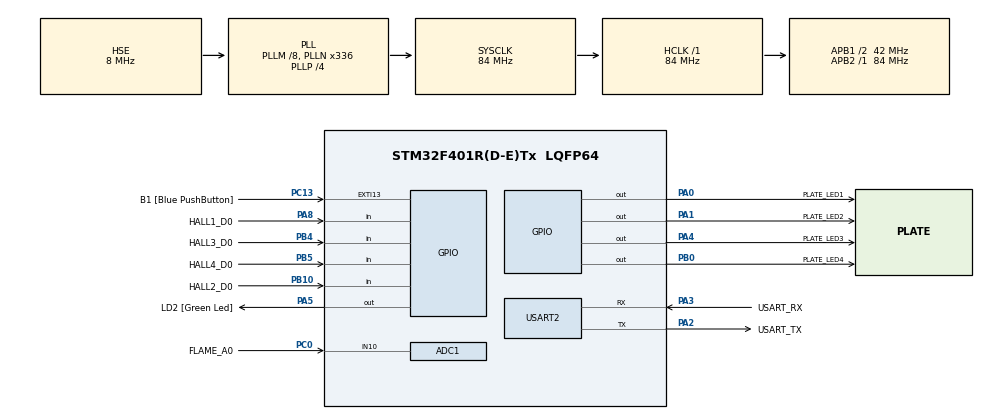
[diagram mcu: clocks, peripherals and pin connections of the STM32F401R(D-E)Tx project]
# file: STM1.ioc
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ADC1.Channel-0\#ChannelRegularConversion=ADC_CHANNEL_10
ADC1.DMAContinuousRequests=ENABLE
ADC1.ExternalTrigConv=ADC_EXTERNALTRIGCONV_T2_TRGO
ADC1.NbrOfConversionFlag=1
ADC1.Rank-0\#ChannelRegularConversion=1
ADC1.SamplingTime-0\#ChannelRegularConversion=ADC_SAMPLETIME_480CYCLES
ADC1.master=1
Dma.ADC1.0.Direction=DMA_PERIPH_TO_MEMORY
Dma.ADC1.0.FIFOMode=DMA_FIFOMODE_DISABLE
Dma.ADC1.0.Instance=DMA2_Stream0
Dma.ADC1.0.MemDataAlignment=DMA_MDATAALIGN_HALFWORD
Dma.ADC1.0.MemInc=DMA_MINC_ENABLE
Dma.ADC1.0.Mode=DMA_CIRCULAR
Dma.ADC1.0.PeriphDataAlignment=DMA_PDATAALIGN_HALFWORD
Dma.ADC1.0.PeriphInc=DMA_PINC_DISABLE
Dma.ADC1.0.Priority=DMA_PRIORITY_LOW
Dma.Request0=ADC1
FREERTOS.Tasks01=defaultTask,24,128,StartDefaultTask,Default,NULL,Dynamic,NULL,NULL;TaskFlameSensor,24,256,StartTaskFlameSensor,Default,NULL,Dynamic,NULL,NULL;TaskHallSensor,24,128,StartTaskHallSensor,Default,NULL,Dynamic,NULL,NULL;TaskPacketTX,24,256,StartTaskPacketTX,Default,NULL,Dynamic,NULL,NULL
FREERTOS.configUSE_NEWLIB_REENTRANT=1
Mcu.Family=STM32F4
Mcu.Name=STM32F401R(D-E)Tx
Mcu.Package=LQFP64
NVIC.ADC_IRQn=true\:5\:0\:false\:false\:true\:true\:true\:true\:true
NVIC.DMA2_Stream0_IRQn=true\:5\:0\:false\:false\:true\:true\:false\:true\:true
NVIC.PriorityGroup=NVIC_PRIORITYGROUP_4
NVIC.TIM1_UP_TIM10_IRQn=true\:15\:0\:false\:false\:true\:false\:false\:true\:true
NVIC.TIM2_IRQn=true\:5\:0\:false\:false\:true\:true\:true\:true\:true
NVIC.TimeBase=TIM1_UP_TIM10_IRQn
NVIC.TimeBaseIP=TIM1
PA0-WKUP.GPIO_Label=PLATE_LED1
PA0-WKUP.Signal=GPIO_Output
PA1.GPIO_Label=PLATE_LED2
PA1.Signal=GPIO_Output
PA13.GPIO_Label=TMS
PA13.Mode=Serial_Wire
PA13.Signal=SYS_JTMS-SWDIO
PA14.GPIO_Label=TCK
PA14.Mode=Serial_Wire
PA14.Signal=SYS_JTCK-SWCLK
PA2.GPIO_Label=USART_TX
PA2.GPIO_Mode=GPIO_MODE_AF_PP
PA2.GPIO_PuPd=GPIO_NOPULL
PA2.GPIO_Speed=GPIO_SPEED_FREQ_LOW
PA2.Mode=Asynchronous
PA2.Signal=USART2_TX
PA3.GPIO_Label=USART_RX
PA3.GPIO_Mode=GPIO_MODE_AF_PP
PA3.GPIO_PuPd=GPIO_NOPULL
PA3.GPIO_Speed=GPIO_SPEED_FREQ_LOW
PA3.Mode=Asynchronous
PA3.Signal=USART2_RX
PA4.GPIO_Label=PLATE_LED3
PA4.Signal=GPIO_Output
PA5.GPIO_Label=LD2 [Green Led]
PA5.GPIO_Mode=GPIO_MODE_OUTPUT_PP
PA5.GPIO_PuPd=GPIO_NOPULL
PA5.GPIO_Speed=GPIO_SPEED_FREQ_LOW
PA5.Signal=GPIO_Output
PA8.GPIO_Label=HALL1_D0
PA8.GPIO_PuPd=GPIO_PULLUP
PA8.Signal=GPIO_Input
PB0.GPIO_Label=PLATE_LED4
PB0.Signal=GPIO_Output
PB10.GPIO_Label=HALL2_D0
PB10.GPIO_PuPd=GPIO_PULLUP
PB10.Signal=GPIO_Input
PB3.GPIO_Label=SWO
PB3.Signal=SYS_JTDO-SWO
PB4.GPIO_Label=HALL3_D0
PB4.GPIO_PuPd=GPIO_PULLUP
PB4.Signal=GPIO_Input
PB5.GPIO_Label=HALL4_D0
PB5.GPIO_PuPd=GPIO_PULLUP
PB5.Signal=GPIO_Input
PC0.GPIO_Label=FLAME_A0
PC0.Signal=ADCx_IN10
PC13-ANTI_TAMP.GPIO_Label=B1 [Blue PushButton]
PC13-ANTI_TAMP.GPIO_ModeDefaultEXTI=GPIO_MODE_IT_FALLING
PC13-ANTI_TAMP.GPIO_PuPd=GPIO_NOPULL
PC13-ANTI_TAMP.Signal=GPXTI13
PC14-OSC32_IN.Mode=LSE-External-Oscillator
PC14-OSC32_IN.Signal=RCC_OSC32_IN
PC15-OSC32_OUT.Mode=LSE-External-Oscillator
PC15-OSC32_OUT.Signal=RCC_OSC32_OUT
PH0\ -\ OSC_IN.Mode=HSE-External-Clock-Source
PH0\ -\ OSC_IN.Signal=RCC_OSC_IN
PH1\ -\ OSC_OUT.Mode=HSE-External-Clock-Source
PH1\ -\ OSC_OUT.Signal=RCC_OSC_OUT
ProjectManager.HeapSize=0x200
ProjectManager.StackSize=0x400
ProjectManager.TargetToolchain=STM32CubeIDE
RCC.48MHZClocksFreq_Value=48000000
RCC.AHBFreq_Value=84000000
RCC.APB1CLKDivider=RCC_HCLK_DIV2
RCC.APB1Freq_Value=42000000
RCC.APB1TimFreq_Value=84000000
RCC.APB2Freq_Value=84000000
RCC.APB2TimFreq_Value=84000000
RCC.CortexFreq_Value=84000000
RCC.HCLKFreq_Value=84000000
RCC.HSE_VALUE=8000000
RCC.HSI_VALUE=16000000
RCC.PLLM=8
RCC.PLLN=336
RCC.PLLP=RCC_PLLP_DIV4
RCC.PLLQ=7
RCC.PLLSourceVirtual=RCC_PLLSOURCE_HSE
RCC.SYSCLKFreq_VALUE=84000000
RCC.SYSCLKSource=RCC_SYSCLKSOURCE_PLLCLK
RCC.VCOOutputFreq_Value=336000000
SH.ADCx_IN10.0=ADC1_IN10,IN10
TIM2.Period=1049
TIM2.Prescaler=1249
TIM2.TIM_MasterOutputTrigger=TIM_TRGO_UPDATE
USART2.VirtualMode=VM_ASYNC
VP_FREERTOS_VS_CMSIS_V2.Mode=CMSIS_V2
VP_SYS_VS_tim1.Mode=TIM1
VP_TIM2_VS_ClockSourceINT.Mode=Internal
board=NUCLEO-F401RE

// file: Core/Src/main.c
/* USER CODE BEGIN Header */
/**
  ******************************************************************************
  * @file           : main.c
  * @brief          : Main program body
  ******************************************************************************
  * @attention
  *
  * Copyright (c) 2026 STMicroelectronics.
  * All rights reserved.
  *
  * This software is licensed under terms that can be found in the LICENSE file
  * in the root directory of this software component.
  * If no LICENSE file comes with this software, it is provided AS-IS.
  *
  ******************************************************************************
  */
/* USER CODE END Header */
#include "main.h"
#include "cmsis_os.h"
#include "adc.h"
#include "dma.h"
#include "tim.h"
#include "usart.h"
#include "gpio.h"

/* USER CODE BEGIN Includes */
#include <stdio.h>
#include "arm_math.h"
#include <stdlib.h>
#include "sensor_queue.h"
#include "sensor_protocol.h"
#include "alert_command.h"
#include "lora_e22.h"
#include "lora_frame.h"
/* USER CODE END Includes */

/* USER CODE BEGIN PV */
volatile uint32_t tim2_tick_count = 0;

#define ADC_BUF_SIZE 64
uint16_t adc_buf[ADC_BUF_SIZE];
/* USER CODE END PV */

void SystemClock_Config(void);
void MX_FREERTOS_Init(void);

/* USER CODE BEGIN 0 */
int __io_putchar(int ch)
{
    HAL_UART_Transmit(&huart2, (uint8_t*)&ch, 1, HAL_MAX_DELAY);
    return ch;
}

/* Fires (from ISR context) every time the circular DMA buffer wraps, i.e.
 * once per full 1-second/64-sample window. Just signals TaskFlameSensor -
 * no heavy work here since we're in an interrupt handler. */
void HAL_ADC_ConvCpltCallback(ADC_HandleTypeDef *hadc)
{
  if (hadc->Instance == ADC1)
  {
    osSemaphoreRelease(adcBufReadySemHandle);
  }
}

/* Fires (from ISR context) on either edge of any of the 4 hall D0 pins.
 * Same shape as HAL_ADC_ConvCpltCallback above: just wake TaskHallSensor,
 * no debouncing or UART work here. Which of the 4 slots changed isn't
 * tracked -- the task re-scans all 4 on wake, same as the old poll loop
 * did every tick. */
void HAL_GPIO_EXTI_Callback(uint16_t GPIO_Pin)
{
  if (GPIO_Pin == HALL1_D0_Pin || GPIO_Pin == HALL2_D0_Pin ||
      GPIO_Pin == HALL3_D0_Pin || GPIO_Pin == HALL4_D0_Pin)
  {
    osSemaphoreRelease(hallEdgeSemHandle);
  }
}

/* Fires (from ISR context) once per received USART2 byte -- the link runs
 * one-byte-at-a-time interrupt mode (see AlertCommand_StartReceive()), not
 * DMA, since AlertCommand traffic is short and infrequent. All the actual
 * buffering/parsing is delegated to alert_command.c; this callback only
 * exists because HAL_UART_RxCpltCallback has to live somewhere, same as
 * HAL_ADC_ConvCpltCallback and HAL_GPIO_EXTI_Callback above. */
void HAL_UART_RxCpltCallback(UART_HandleTypeDef *huart)
{
  if (huart->Instance == USART2)
  {
    AlertCommand_OnByteReceived();
  }
  else if (huart->Instance == USART1)
  {
    /* LoRa 하행. 여기서는 링버퍼에 넣기만 하고, 프레임 조립과 CRC 검증은
     * StartDefaultTask 가 태스크 문맥에서 한다 -- USART2 경로가 파싱을
     * 태스크로 미루는 것과 같은 이유다. */
    LoRa_OnByteReceived();
  }
}

/* 수신 에러(주로 오버런/프레이밍)가 나면 HAL 은 수신을 중단하고 *재무장하지
 * 않는다.* 그대로 두면 그 순간부터 하행이 조용히 죽는다 -- 로그도 안 남고
 * 송신은 멀쩡해서 원인을 찾기 어렵다. 여기서 다시 걸어준다.
 *
 * 오버런은 인터럽트가 잠깐 지연되면(예: 송신 중 스케줄러 정지 구간) 실제로
 * 발생한다. 이 콜백이 없으면 몇 시간 안에 반드시 겪는다. */
void HAL_UART_ErrorCallback(UART_HandleTypeDef *huart)
{
  if (huart->Instance == USART2)
  {
    __HAL_UART_CLEAR_OREFLAG(huart);
    AlertCommand_StartReceive();
  }
  else if (huart->Instance == USART1)
  {
    __HAL_UART_CLEAR_OREFLAG(huart);
    LoRa_StartReceiveIT();
  }
}
/* USER CODE END 0 */

int main(void)
{

  /* MCU Configuration--------------------------------------------------------*/

  /* Reset of all peripherals, Initializes the Flash interface and the Systick. */
  HAL_Init();

  /* Configure the system clock */
  SystemClock_Config();

  /* Initialize all configured peripherals */
  MX_GPIO_Init();
  MX_DMA_Init();
  MX_ADC1_Init();
  MX_USART2_UART_Init();
  MX_TIM2_Init();
  /* USER CODE BEGIN 2 */
#if LORA_BURN_MODULE
  /* Pi 쪽 모듈처럼 MCU 없이 동작할 모듈을 준비하는 전용 모드.
   * 굽고 확인한 뒤 여기서 멈춘다 -- 센서 노드로 동작하지 않으므로 이 모드를
   * 켜둔 채 잊어버려도 바로 알아차릴 수 있다. */
  LoRa_Init();
  printf("\r\n");
  printf("##################################################\r\n");
  printf("#  LORA BURN MODE -- 센서 동작 안 함              \r\n");
  printf("#  주소 0x%04X / NETID 0x%02X                     \r\n",
         (unsigned)LORA_BURN_ADDRESS, (unsigned)LORA_BURN_NETID);
  printf("#  ch=%u / 10dBm / LBT on / 62.5k / 115200        \r\n",
         (unsigned)LORA_CH_DATA_DEFAULT);
  printf("#  C0(영구 저장) -- 전원 끊어도 유지됨            \r\n");
  printf("##################################################\r\n");

  {
    HAL_StatusTypeDef burn_st = LoRa_BurnModule(LORA_BURN_ADDRESS, LORA_BURN_NETID);

    if (burn_st == HAL_OK)
    {
      printf("\r\n[burn] 완료. 되읽기 대조까지 통과했습니다.\r\n");
      LoRa_SelfTest();   /* 최종 상태를 디코드해서 한 번 더 남긴다 */
      printf("\r\n이 모듈을 대상 보드로 옮기고, LORA_BURN_MODULE 을 0 으로\r\n");
      printf("되돌린 뒤 재빌드하세요.\r\n");
    }
    else
    {
      printf("\r\n[burn] 실패. 모듈을 옮기지 마세요.\r\n");
      printf("배선(모듈TXD->PA10 / 모듈RXD->PA9 / M0->PC7 / M1->PB6 / AUX->PA7 / 3V3 / GND) 확인 후 재시도.\r\n");
    }

    /* 센서 동작으로 넘어가지 않는다. LED 로 결과를 표시하며 정지:
     * 느린 깜빡임 = 성공, 빠른 깜빡임 = 실패. */
    for (;;)
    {
      HAL_GPIO_TogglePin(LD2_GPIO_Port, LD2_Pin);
      HAL_Delay((burn_st == HAL_OK) ? 1000 : 150);
    }
  }
#endif

  /* 빌드 배너.
   *
   * 플래시가 실제로 새 빌드로 갈렸는지 로그만 보고는 알 수 없어서, 옛 펌웨어를
   * 돌리며 "왜 새 기능이 안 보이지" 를 몇 번 반복했다. 부팅할 때마다 빌드
   * 시각과 켜져 있는 기능을 찍어두면 그 혼선이 사라진다. */
  printf("\r\n======================================================\r\n");
  printf("# STM1  build %s %s\r\n", __DATE__, __TIME__);
  printf("# payload v1.1 (frame ver 0x%02X) / node %s\r\n",
         (unsigned)LORA_FRAME_VERSION, SENSOR_NODE_ID);
  printf("# TX  uart=%d lora=%d   LoRa ch=%u pwr=10dBm lbt=%d\r\n",
         SENSOR_TX_UART, SENSOR_TX_LORA,
         (unsigned)LORA_CH_DATA_DEFAULT, LORA_LBT_ENABLE);
  printf("# 홀 쿨다운 %lums / 화재 텔레메트리 %lums\r\n",
         (unsigned long)SENSOR_HALL_COOLDOWN_MS,
         (unsigned long)SENSOR_FLAME_TELEMETRY_MS);
  printf("======================================================\r\n");

#if SENSOR_TX_LORA
  /* USART1(PA9/PA10)과 M0/M1/AUX(PC7/PB6/PA7) 초기화를 드라이버가 직접 하므로
   * .ioc 를 건드리지 않는다 -- CubeMX 재생성에도 안전하다.
   * 채널/출력/LBT 는 C0 명령으로 모듈에 영구 저장되어 있지만, 다른 모듈로
   * 교체했을 때를 대비해 부팅할 때마다 한 번 더 맞춰준다.
   * 주의: LoRa_SelfTest()/LoRa_Diag() 는 printf 로 USART2 에 찍는데 그건
   * Pi 데이터 링크라 프로토콜을 오염시킨다. 브링업 때만 임시로 켤 것. */
  LoRa_Init();
  /* persist=false(C2) 로 매 부팅마다 맞춘다. C0 는 모듈 플래시에 쓰는 거라
   * 부팅마다 때리면 수명을 깎는다. STM32 가 붙어 있는 쪽은 어차피 매번
   * 설정하므로 임시 저장으로 충분하다.
   * !! Pi 쪽 모듈은 MCU 가 없어서 스스로 설정하지 못한다. 그 모듈은 이
   *    보드에 잠깐 물려서 persist=true 로 한 번 구워서 넘겨야 한다. */
  {
    HAL_StatusTypeDef lora_st =
        /* LBT 는 KC 기술기준 항목이라 켜둔다. 브링업 중 링크가 안 붙을 때
         * 잠깐 false 로 내려 원인에서 배제하는 데 썼는데, 진단이 끝났으므로
         * 되돌렸다. LBT 가 송신을 미뤄도 STM32 에 알려주지는 않으므로,
         * "LORA OK" 는 UART 로 넘겼다는 뜻이지 전파가 나갔다는 보장은 아니다. */
        LoRa_ConfigureFull(LORA_CH_DATA_DEFAULT, LORA_PWR_10DBM, LORA_LBT_ENABLE,
                           LORA_AIR_PROJECT, LORA_UART_PROJECT, false);
    /* 이 두 줄은 디버그 플래그와 무관하게 항상 찍는다.
     *
     * 설정 확인에 실패하면 전파법 인터록이 송신을 전부 막는데, 그때 수신은
     * 계속 된다 -- 모듈이 저장된 설정으로 동작하기 때문이다. 그래서 겉보기엔
     * "명령은 받는데 갑자기 송신만 안 되는" 상태가 되고, 로그가 없으면
     * 원인을 짚을 수가 없다. 실제로 그 상황을 겪었다.
     *
     * 부팅 때 한 번 나가는 몇 줄이라 비용이 없다. */
    printf("\r\n# LORA CFG %s (ch=%u pwr=10dBm lbt=%d air=62.5k uart=115200)\r\n",
           (lora_st == HAL_OK) ? "OK" : "FAIL -- 송신 차단됨(인터록)",
           (unsigned)LORA_CH_DATA_DEFAULT, LORA_LBT_ENABLE);
    if (lora_st == HAL_OK) { LoRa_DumpRegisters(); }

    /* AUX 상태. 설정이 멀쩡한데 송신만 안 될 때 남은 후보가 이것이다.
     *
     * AUX 가 GND 로 눌려 있으면 모듈이 영원히 "바쁨" 으로 읽혀서, 매 송신마다
     * LoRa_WaitAuxIdle() 이 타임아웃(2초)을 다 쓰고 나간다. 로그상 송신은
     * 시도되는데 실제로는 거의 안 나가는 것처럼 보인다.
     *
     * 지금 레벨이 LOW 인데 모듈이 idle 이어야 할 상황이면 배선을 의심할 것.
     * detected=no 는 배선이 아예 안 붙었다는 뜻이고, 그 경우는 풀업 덕분에
     * 항상 HIGH 로 읽혀 동작에는 지장이 없다. */
    printf("# LORA AUX: level=%s  detected=%s  (PA7/D11)\r\n",
           (HAL_GPIO_ReadPin(LORA_AUX_GPIO_Port, LORA_AUX_Pin) == GPIO_PIN_SET)
               ? "HIGH(idle)" : "LOW(busy)",
           LoRa_AuxDetected() ? "yes" : "no");

#if LORA_DEBUG_HEX
    if (lora_st == HAL_OK) { LoRa_CheckNormalMode(); }
#endif
    if (lora_st != HAL_OK)
    {
      /* 설정이 안 먹었으면 어디서 막혔는지 자동으로 훑는다. 라인 프로브 ->
       * 단락 검사 -> baud 스윕 -> USART 우회 비트뱅잉 순서. 지그에서 E22 를
       * E220 으로 착각해 딥슬립에 빠뜨렸던 그 상황을 잡으려고 만든 루틴이다. */
      LoRa_SelfTest();
      LoRa_CheckNormalMode();
      LoRa_DetectVariant();
      LoRa_Diag();
    }
  }
#endif
  /* USER CODE END 2 */

  /* Init scheduler */
  osKernelInitialize();  /* Call init function for freertos objects (in freertos.c) */
  MX_FREERTOS_Init();

  /* USER CODE BEGIN RTOS_PERIPH_START */
  /* adcBufReadySemHandle must exist before conversions can start firing the callback */
  HAL_TIM_Base_Start_IT(&htim2);
  HAL_ADC_Start_DMA(&hadc1, (uint32_t*)adc_buf, ADC_BUF_SIZE);
  /* AlertCommand_Init() (freertos.c, RTOS_TIMERS above) already created the
   * semaphore/timers a received line needs, so it's safe to start taking
   * bytes now. */
  /* 태스크/큐/타이머가 전부 만들어진 뒤라야 힙 사용량이 의미가 있다.
   * 배너(위 USER CODE 2)에서 찍으면 아직 할당이 한 번도 없어 heap_4 가
   * 초기화되기 전이라 항상 0 이 나온다 -- 실제로 그걸로 한 번 오해했다. */
  printf("# FreeRTOS 힙 여유 %u / %u B (태스크 생성 후)\r\n",
         (unsigned)xPortGetFreeHeapSize(), (unsigned)configTOTAL_HEAP_SIZE);

  AlertCommand_StartReceive();

#if SENSOR_TX_LORA
  /* LoRa 인터럽트 수신 시작.
   *
   * 반드시 LoRa_ConfigureFull() 이 끝난 뒤여야 한다. 설정 모드는 블로킹
   * 수신(HAL_UART_Receive)을 쓰는데, 인터럽트 수신이 먼저 걸려 있으면
   * 같은 UART 를 두 방식이 다투게 되어 레지스터 응답을 놓친다.
   *
   * 이후로 STM1 은 항상 듣는 상태가 된다 -- Pi 가 언제 명령을 보내도
   * 받는다. 조립/CRC 검증은 StartDefaultTask 가 태스크 문맥에서 한다. */
  LoRa_StartReceiveIT();
#endif
  /* USER CODE END RTOS_PERIPH_START */

  /* Start scheduler */
  osKernelStart();

  /* We should never get here as control is now taken by the scheduler */
  /* Infinite loop */
  while (1)
  {

  }
}

void SystemClock_Config(void)
{
  RCC_OscInitTypeDef RCC_OscInitStruct = {0};
  RCC_ClkInitTypeDef RCC_ClkInitStruct = {0};

  /** Configure the main internal regulator output voltage
  */
  __HAL_RCC_PWR_CLK_ENABLE();
  __HAL_PWR_VOLTAGESCALING_CONFIG(PWR_REGULATOR_VOLTAGE_SCALE2);

  /** Initializes the RCC Oscillators according to the specified parameters
  * in the RCC_OscInitTypeDef structure.
  */
  /* BYPASS not Crystal: on this Nucleo board HSE comes from the ST-Link's
   * 8MHz MCO into PH0, there's no resonator on OSC_IN/OSC_OUT.
   * PLLM=8 -> 8MHz/8=1MHz VCO input, same as before; PLLN/PLLP unchanged so
   * SYSCLK is still 84MHz and TIM2's 64Hz math doesn't need to change. */
  RCC_OscInitStruct.OscillatorType = RCC_OSCILLATORTYPE_HSE;
  RCC_OscInitStruct.HSEState = RCC_HSE_BYPASS;
  RCC_OscInitStruct.PLL.PLLState = RCC_PLL_ON;
  RCC_OscInitStruct.PLL.PLLSource = RCC_PLLSOURCE_HSE;
  RCC_OscInitStruct.PLL.PLLM = 8;
  RCC_OscInitStruct.PLL.PLLN = 336;
  RCC_OscInitStruct.PLL.PLLP = RCC_PLLP_DIV4;
  RCC_OscInitStruct.PLL.PLLQ = 7;
  if (HAL_RCC_OscConfig(&RCC_OscInitStruct) != HAL_OK)
  {
    Error_Handler();
  }

  /** Initializes the CPU, AHB and APB buses clocks
  */
  RCC_ClkInitStruct.ClockType = RCC_CLOCKTYPE_HCLK|RCC_CLOCKTYPE_SYSCLK
                              |RCC_CLOCKTYPE_PCLK1|RCC_CLOCKTYPE_PCLK2;
  RCC_ClkInitStruct.SYSCLKSource = RCC_SYSCLKSOURCE_PLLCLK;
  RCC_ClkInitStruct.AHBCLKDivider = RCC_SYSCLK_DIV1;
  RCC_ClkInitStruct.APB1CLKDivider = RCC_HCLK_DIV2;
  RCC_ClkInitStruct.APB2CLKDivider = RCC_HCLK_DIV1;

  if (HAL_RCC_ClockConfig(&RCC_ClkInitStruct, FLASH_LATENCY_2) != HAL_OK)
  {
    Error_Handler();
  }
}

void HAL_TIM_PeriodElapsedCallback(TIM_HandleTypeDef *htim)
{
  if (htim->Instance == TIM1) {
    HAL_IncTick();
  }
  /* USER CODE BEGIN Callback 1 */
  if (htim->Instance == TIM2)
  {
      tim2_tick_count++;
  }
  /* USER CODE END Callback 1 */
}

void Error_Handler(void)
{
  __disable_irq();
  while (1)
  {
  }
}

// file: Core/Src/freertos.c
/* USER CODE BEGIN Header */
/**
  ******************************************************************************
  * File Name          : freertos.c
  * Description        : Code for freertos applications
  ******************************************************************************
  * @attention
  *
  * Copyright (c) 2026 STMicroelectronics.
  * All rights reserved.
  *
  * This software is licensed under terms that can be found in the LICENSE file
  * in the root directory of this software component.
  * If no LICENSE file comes with this software, it is provided AS-IS.
  *
  ******************************************************************************
  */
/* USER CODE END Header */

#include "FreeRTOS.h"
#include "task.h"
#include "main.h"
#include "cmsis_os.h"

/* USER CODE BEGIN Includes */
#include <stdio.h>
#include "arm_math.h"
#include "sensor_queue.h"
#include "sensor_protocol.h"
#include "alert_command.h"
#include "lora_e22.h"
#include "lora_frame.h"
#include "usart.h"    /* huart2 -- vApplicationStackOverflowHook */
#include <string.h>
/* USER CODE END Includes */

/* USER CODE BEGIN Variables */
extern volatile uint32_t tim2_tick_count;
extern uint16_t adc_buf[64];

/* Shared mailbox: TaskHallSensor/TaskFlameSensor push SensorEvent_t here,
 * TaskPacketTX pops and sends them over UART. One queue instead of a
 * mutex-protected struct so producers/consumer stay naturally serialized. */
osMessageQueueId_t sensorEventQueueHandle;
const osMessageQueueAttr_t sensorEventQueue_attributes = {
  .name = "sensorEventQueue"
};

/* Released by HAL_ADC_ConvCpltCallback (main.c) each time the circular DMA
 * buffer finishes one full 1-second window, so TaskFlameSensor knows when
 * adc_buf is safe to read without racing the next DMA write. */
osSemaphoreId_t adcBufReadySemHandle;
const osSemaphoreAttr_t adcBufReadySem_attributes = {
  .name = "adcBufReadySem"
};

/* Released by HAL_GPIO_EXTI_Callback (main.c) on either edge of any of the
 * 4 hall D0 pins, so TaskHallSensor can block instead of polling every
 * 50ms -- same shape as adcBufReadySemHandle above. */
osSemaphoreId_t hallEdgeSemHandle;
const osSemaphoreAttr_t hallEdgeSem_attributes = {
  .name = "hallEdgeSem"
};

/* Hall debounce state, kept at file scope (was local to
 * StartTaskHallSensor) so the confirmed value and the last-reported value
 * can be compared across wakes. */
static uint8_t hall_debounced_state[SENSOR_HALL_COUNT] = {0};
static uint8_t hall_candidate_state[SENSOR_HALL_COUNT] = {0};
static uint32_t hall_stable_count[SENSOR_HALL_COUNT] = {0};
/* Last state actually put on the wire per slot -- lets TaskHallSensor emit
 * only on a confirmed change instead of a fixed cadence, same as
 * TaskFlameSensor's last_verdict. */
static uint8_t hall_last_reported_state[SENSOR_HALL_COUNT] = {0};

/* 채널별 쿨다운 상태 (SENSOR_HALL_COOLDOWN_MS).
 *
 * 첫 변화는 즉시 나가고, 그 뒤 쿨다운 동안 생긴 변화는 버리지 않고 pending
 * 으로 표시만 해둔다. 쿨다운이 끝나면 그때의 *최신* 상태를 한 번 보낸다.
 * 그래서 채터링이 나도 프레임 수가 늘지 않고, 수신측 상태는 늦어도 쿨다운
 * 시간 안에 반드시 맞아진다.
 *
 * 이게 없으면 채터링 시 duty 리미터가 프레임을 버리는데, 버려진 게 상태
 * 변화면 수신측은 다음 하트비트(30초)까지 틀린 상태를 들고 있게 된다. */
static uint32_t hall_last_sent_tick[SENSOR_HALL_COUNT] = {0};
static uint8_t  hall_sent_once[SENSOR_HALL_COUNT] = {0};
static uint8_t  hall_pending[SENSOR_HALL_COUNT] = {0};

/* Fires every 30s regardless of GPIO activity: resends whatever
 * hall_debounced_state currently holds, purely as a liveness signal. Edge
 * changes are still reported instantly by TaskHallSensor above -- this
 * timer exists only so the Pi side can tell "nothing changed in a while"
 * apart from "the STM32/UART link died", which pure on-change reporting
 * can't distinguish. The Pi's duplicate/stale-sequence guard already
 * treats repeats as safe, so re-sending unchanged state here is fine. */
osTimerId_t hallHeartbeatTimerHandle;
const osTimerAttr_t hallHeartbeatTimer_attributes = {
  .name = "hallHeartbeatTimer"
};

/* Last verdict actually put on the wire by TaskFlameSensor, and whether the
 * boot-time baseline/first verdict has been recorded yet. Moved out of
 * StartTaskFlameSensor's locals (was last_verdict/verdict_seeded) so
 * FlameHeartbeatTimerCallback below can read the current value too. */
static uint8_t flame_last_verdict = 0;
static uint8_t flame_verdict_seeded = 0;
/* 마지막으로 계산한 1~20Hz 대역 에너지. v1.1 부터 전선에 실려 나가므로
 * 하트비트/텔레메트리에서도 이 값을 쓴다. */
static float   flame_last_energy = 0.0f;

/* Same idea as hallHeartbeatTimerHandle: every 30s, resend the last flame
 * verdict regardless of change, purely as a liveness signal. Actual
 * ALERT/CLEAR transitions are still reported instantly by
 * TaskFlameSensor. Guarded on flame_verdict_seeded so it can't fire before
 * the boot baseline is established (see FLAME_SETTLE_WINDOWS below). */
osTimerId_t flameHeartbeatTimerHandle;
const osTimerAttr_t flameHeartbeatTimer_attributes = {
  .name = "flameHeartbeatTimer"
};
/* USER CODE END Variables */
/* Definitions for defaultTask */
osThreadId_t defaultTaskHandle;
const osThreadAttr_t defaultTask_attributes = {
  .name = "defaultTask",
  /* LoRa 하행 펌프 + 진단 printf 가 여기서 돈다. 128*4(512B)로는 printf
   * 하나에 스택이 넘친다 -- newlib 의 포맷 파싱만으로 200~300B 를 쓴다.
   * 넘치면 vApplicationStackOverflowHook -> Error_Handler() 무한루프라
   * 로그가 뚝 끊기고 원인이 안 보인다. 실제로 그 증상을 겪었다. */
  .stack_size = 512 * 4,
  .priority = (osPriority_t) osPriorityNormal,
};
/* Definitions for TaskFlameSensor */
osThreadId_t TaskFlameSensorHandle;
const osThreadAttr_t TaskFlameSensor_attributes = {
  .name = "TaskFlameSensor",
  .stack_size = 512 * 4, /* FFT buffers alone use ~700B of stack (see .su); 256*4 left almost no margin */
  .priority = (osPriority_t) osPriorityNormal,
};
/* Definitions for TaskHallSensor */
osThreadId_t TaskHallSensorHandle;
const osThreadAttr_t TaskHallSensor_attributes = {
  .name = "TaskHallSensor",
  .stack_size = 128 * 4,
  .priority = (osPriority_t) osPriorityNormal,
};
/* Definitions for TaskPacketTX */
osThreadId_t TaskPacketTXHandle;
const osThreadAttr_t TaskPacketTX_attributes = {
  .name = "TaskPacketTX",
  .stack_size = 256 * 4,
  .priority = (osPriority_t) osPriorityNormal,
};
/* Definitions for TaskCommandRX (EVDA-194: receives the Pi's plate-LED
 * AlertCommand lines, see alert_command.c). Stack is small on purpose --
 * AlertCommand_Task() only does short string parsing and a couple of HAL/
 * RTOS calls per wake, nothing like TaskFlameSensor's FFT buffers. */
osThreadId_t TaskCommandRXHandle;
const osThreadAttr_t TaskCommandRX_attributes = {
  .name = "TaskCommandRX",
  /* 원래는 짧은 문자열 파싱 + HAL/RTOS 호출 몇 개뿐이라 128*4 로 충분했는데,
   * 명령 수락/거부 진단 로그(printf)가 붙으면서 부족해졌다. defaultTask 와
   * 같은 이유다 -- 위 주석 참고. */
  .stack_size = 384 * 4,
  .priority = (osPriority_t) osPriorityNormal,
};

/* USER CODE BEGIN FunctionPrototypes */
static void HallHeartbeatTimerCallback(void *argument);
static void FlameHeartbeatTimerCallback(void *argument);
static void HallEmitIfAllowed(uint8_t ch);
/* USER CODE END FunctionPrototypes */

void StartDefaultTask(void *argument);
void StartTaskFlameSensor(void *argument);
void StartTaskHallSensor(void *argument);
void StartTaskPacketTX(void *argument);
void StartTaskCommandRX(void *argument);

void MX_FREERTOS_Init(void); /* (MISRA C 2004 rule 8.1) */

void MX_FREERTOS_Init(void) {

  /* USER CODE BEGIN RTOS_SEMAPHORES */
  adcBufReadySemHandle = osSemaphoreNew(1, 0, &adcBufReadySem_attributes);
  hallEdgeSemHandle = osSemaphoreNew(1, 0, &hallEdgeSem_attributes);
  /* USER CODE END RTOS_SEMAPHORES */

  /* USER CODE BEGIN RTOS_TIMERS */
  hallHeartbeatTimerHandle = osTimerNew(HallHeartbeatTimerCallback, osTimerPeriodic, NULL, &hallHeartbeatTimer_attributes);
  osTimerStart(hallHeartbeatTimerHandle, 30000);

#if SENSOR_HAS_FLAME
  flameHeartbeatTimerHandle = osTimerNew(FlameHeartbeatTimerCallback, osTimerPeriodic, NULL, &flameHeartbeatTimer_attributes);
  /* 5초 주기로 돌지만 CLEARED 상태에서는 6번에 한 번(=30초)만 실제로 보낸다.
   * DETECTED 인 동안에만 5초 간격 텔레메트리가 된다 -- 콜백 주석 참고. */
  osTimerStart(flameHeartbeatTimerHandle, SENSOR_FLAME_TELEMETRY_MS);
#endif

  /* Creates the line-ready semaphore and the 4 per-LED failsafe one-shot
   * timers. Grouped here (not a separate RTOS_SEMAPHORES entry) because
   * AlertCommand owns both and creates them together; see alert_command.c.
   * Must run before AlertCommand_StartReceive() (main.c,
   * RTOS_PERIPH_START) so a line can never arrive before these objects
   * exist. */
  AlertCommand_Init();
  /* USER CODE END RTOS_TIMERS */

  /* USER CODE BEGIN RTOS_QUEUES */
  sensorEventQueueHandle = osMessageQueueNew(8, sizeof(SensorEvent_t), &sensorEventQueue_attributes);
  /* USER CODE END RTOS_QUEUES */

  /* NOTE: CubeMX 2.2.0 has a recurring bug where regenerating FreeRTOS code
   * wipes the 4 osThreadNew(...) calls below and replaces them with an empty
   * header comment block. If you regenerate from the .ioc, check this
   * function and restore these lines if they're missing. */
  /* Create the thread(s) */
  defaultTaskHandle = osThreadNew(StartDefaultTask, NULL, &defaultTask_attributes);
#if SENSOR_HAS_FLAME
  /* 화재센서가 없는 보드(STM2)에서는 태스크를 아예 만들지 않는다. FFT 버퍼
   * 때문에 스택이 2KB라, 안 쓰면서 잡아두면 힙만 축낸다. */
  TaskFlameSensorHandle = osThreadNew(StartTaskFlameSensor, NULL, &TaskFlameSensor_attributes);
#endif
  TaskHallSensorHandle = osThreadNew(StartTaskHallSensor, NULL, &TaskHallSensor_attributes);
  TaskPacketTXHandle = osThreadNew(StartTaskPacketTX, NULL, &TaskPacketTX_attributes);
  TaskCommandRXHandle = osThreadNew(StartTaskCommandRX, NULL, &TaskCommandRX_attributes);

}

void StartDefaultTask(void *argument)
{
  /* USER CODE BEGIN StartDefaultTask */
#if SENSOR_TX_LORA
  /* LoRa 하행 펌프.
   *
   * USART1 인터럽트가 바이트를 링버퍼에 넣고(lora_e22.c), 여기서 꺼내
   * 프레임으로 조립한다. CRC 까지 통과한 payload 만 명령 파서로 넘긴다.
   *
   * 예전에는 이 자리에서 LoRa_Recv() 블로킹 폴링을 돌렸는데, 그건 부르는
   * 동안에만 듣는 구조라 호출 사이에 온 바이트가 사라졌고(Pi PING 5개 중
   * 2개 유실) yield 도 하지 않아 CPU 를 계속 태웠다. 이제는 ISR 이 항상
   * 듣고 있으므로 여기서는 10ms 마다 훑기만 하면 된다 -- 명령 지연으로는
   * 무시할 수준이고, 그 사이 도착분은 링버퍼가 받아둔다.
   *
   * 명령 파서는 USART2 경로와 공유한다(alert_command.c). 즉 Pi 는 LoRa 로,
   * 사람은 PuTTY 로 같은 명령을 넣을 수 있다. */
  static char lora_line[LORA_FRAME_MAX_PAYLOAD + 1];
  for (;;)
  {
    uint8_t  type = 0;
    uint32_t seq = 0;
    uint16_t n = LoRaFrame_Poll(lora_line, sizeof(lora_line), &type, &seq);

    if (n == 0)
    {
      /* 수신이 꺼져 있으면 되살린다. 정상일 때는 아무 일도 안 한다. */
      if (LoRa_EnsureReceiving())
      {
        printf("# [%8lu] LORA RX 재무장 (누적 %lu회, 링버퍼 유실 %lu B)\r\n",
               (unsigned long)HAL_GetTick(),
               (unsigned long)LoRa_GetRxRearmCount(),
               (unsigned long)LoRa_GetRxOverrunCount());
      }
      osDelay(10);
      continue;
    }

#if LORA_DEBUG_RX
    printf("# [%8lu] LORA RX type=0x%02X seq=%lu: %s\r\n",
           (unsigned long)HAL_GetTick(), (unsigned)type,
           (unsigned long)seq, lora_line);
#endif

    /* 알 수 없는 줄은 파서가 조용히 무시하므로 타입으로 미리 거르지 않는다.
     * 그래야 Pi 쪽에서 형식을 바꿔도 로그로는 보인다. */
    AlertCommand_SubmitLine(lora_line, n);
  }
#else
  /* Infinite loop */
  for(;;)
  {
    osDelay(1000);
  }
#endif
  /* USER CODE END StartDefaultTask */
}

void StartTaskFlameSensor(void *argument)
{
  /* USER CODE BEGIN StartTaskFlameSensor */
  /* 64 samples @ 64Hz = 1 second window -> 1Hz per FFT bin, matching the
   * 1~20Hz flame-flicker band we care about. */
  #define FFT_SIZE 64
  /* STM32 doesn't own the final fire-alarm decision -- the Pi does -- but
   * this local verdict still needs to be a meaningful ALERT/CLEAR over
   * UART, not just raw telemetry. Both thresholds below are tuned against
   * real DFR0076 hardware: ignition/hand-movement/fluorescent-light/monitor
   * tests on 2026-07-23 (see docs/), not arbitrary placeholders. */
  /* Ambient energy measured 0.15~0.61; flame transition spikes hit 10~103.
   * 5.0 is ~8x over ambient. */
  #define FLAME_ENERGY_THRESHOLD 5.0f
  /* FFT flicker energy is the primary signal and usually holds up during a
   * burn, but once the sensor saturates the window goes flat and the AC
   * content vanishes -- energy reads exactly 0.0000, observed for up to 9
   * consecutive windows. Raw DC level is the opposite: slower, but it tracks
   * continuous IR intensity right through saturation. OR them so either one
   * alone can carry a window.
   *
   * Measured 2026-07-30 at the current sensor gain/distance:
   *   ambient  raw 46~69     -> delta 0~12      (drift only, no flame)
   *   flame    raw 1480~4095 -> delta 1427~4042 (pins at ADC full scale)
   * 300 sits ~13x above the worst ambient drift and ~4.7x below the weakest
   * flame window. (Was 40, which left only ~3x headroom over ambient.) */
  #define FLAME_DELTA_THRESHOLD 300.0f
  /* Real flame flicker is chaotic, not a clean steady oscillation -- a small
   * lighter flame can have individual 1-second windows that happen to land
   * calm and read near baseline even while genuinely burning. A strict
   * "N consecutive windows" debounce keeps getting reset by those calm
   * windows and flaps ALERT/CLEAR. A sliding K-of-N majority vote tolerates
   * a few low windows mixed in without losing the detection. */
  #define FLAME_VOTE_WINDOW 5    /* look at the last 5 one-second windows */
  #define FLAME_VOTE_THRESHOLD 3 /* ...and require at least 3 of them over threshold */

  arm_rfft_fast_instance_f32 fft_inst;
  float32_t input_buf[FFT_SIZE];
  float32_t output_buf[FFT_SIZE];
  float32_t mag_buf[FFT_SIZE / 2];

  uint8_t vote_history[FLAME_VOTE_WINDOW] = {0}; /* raw_verdict of the last N windows */
  uint8_t vote_index = 0;
  uint8_t vote_count = 0; /* running count of 1s currently in vote_history */

  /* Boot settling. Taking the very first window as the ambient baseline was
   * unreliable: right after power-up the sensor output (and the ADC/DMA
   * pipeline) hasn't settled, so the baseline could latch a bogus low value.
   * Everything after that then sat above threshold, pinning the verdict to
   * DETECTED forever -- and since it never changed again, no further edge
   * events were ever emitted, which looked like the sensor going dead.
   * Discard the first few windows, then average a few more into the baseline. */
  #define FLAME_SETTLE_WINDOWS   3  /* discarded entirely */
  #define FLAME_BASELINE_WINDOWS 3  /* averaged into the initial baseline */

  uint32_t window_count = 0;
  float32_t baseline_accum = 0.0f;
  uint8_t baseline_ready = 0;
  float32_t baseline_avg = 0.0f;

  arm_rfft_fast_init_f32(&fft_inst, FFT_SIZE);

  for (;;)
  {
    /* Blocks here until main.c's ADC callback signals one full window is ready. */
    osSemaphoreAcquire(adcBufReadySemHandle, osWaitForever);

    /* adc_buf is 12-bit unsigned (0~4095); recenter around the 2048 midpoint
     * and scale to roughly -1..1 for the FFT. Also accumulate the raw sum
     * for the DC-level check below (same samples, no extra ADC work). */
    uint32_t adc_sum = 0;
    for (int i = 0; i < FFT_SIZE; i++)
    {
      adc_sum += adc_buf[i];
      input_buf[i] = ((float32_t)adc_buf[i] - 2048.0f) / 2048.0f;
    }
    float32_t raw_avg = (float32_t)adc_sum / FFT_SIZE;

    window_count++;
    if (window_count <= FLAME_SETTLE_WINDOWS)
    {
      continue; /* still settling -- this reading means nothing yet */
    }

    if (!baseline_ready)
    {
      baseline_accum += raw_avg;
      if (window_count >= FLAME_SETTLE_WINDOWS + FLAME_BASELINE_WINDOWS)
      {
        baseline_avg = baseline_accum / (float32_t)FLAME_BASELINE_WINDOWS;
        baseline_ready = 1;
      }
      continue; /* no verdict until we know what "ambient" looks like */
    }

    float32_t delta = raw_avg - baseline_avg;
    if (delta < 0.0f)
    {
      delta = -delta;
    }

    arm_rfft_fast_f32(&fft_inst, input_buf, output_buf, 0);
    arm_cmplx_mag_f32(output_buf, mag_buf, FFT_SIZE / 2);

    /* Sum magnitude across bins 1~20 (i.e. 1~20Hz) into one "energy" number
     * instead of sending all 20 bins over the wire. */
    float32_t energy = 0.0f;
    for (int bin = 1; bin <= 20; bin++)
    {
      energy += mag_buf[bin];
    }

    /* Hybrid trigger: flicker spike (ignition/movement) OR sustained DC
     * level shift (steady burn) either one counts as a hit this window. */
    uint8_t raw_verdict = (energy >= FLAME_ENERGY_THRESHOLD || delta >= FLAME_DELTA_THRESHOLD) ? 1 : 0;

    /* Slide the vote window: drop the oldest window's vote, add this one's. */
    vote_count -= vote_history[vote_index];
    vote_history[vote_index] = raw_verdict;
    vote_count += raw_verdict;
    vote_index = (vote_index + 1) % FLAME_VOTE_WINDOW;

    uint8_t debounced_verdict = (vote_count >= FLAME_VOTE_THRESHOLD) ? 1 : 0;

    /* energy no longer goes on the wire (the Pi's parser has no field for
     * it), so expose it here instead for threshold retuning. Compiled out
     * unless FLAME_DEBUG_ENERGY is on. */
    SensorProtocol_SendFlameEnergyDebug(raw_avg, baseline_avg, energy, delta,
                                        raw_verdict, vote_count, debounced_verdict);

    /* Emit only on a confirmed state change: the Pi expects fire as an edge
     * event, not a repeating status line. FlameHeartbeatTimerCallback below
     * covers the separate "is the link even alive" concern on its own 30s
     * cadence. The first window after boot seeds flame_last_verdict
     * without emitting, so a board coming up in a quiet room doesn't
     * announce a redundant CLEARED. */
    /* 하트비트/텔레메트리가 최신 세기를 실어 보낼 수 있도록 매 윈도우
     * 갱신한다. 판정과 무관하게 값 자체는 계속 살아 있어야 한다. */
    flame_last_energy = energy;

    if (!flame_verdict_seeded)
    {
      flame_last_verdict = debounced_verdict;
      flame_verdict_seeded = 1;
    }
    else if (debounced_verdict != flame_last_verdict)
    {
      flame_last_verdict = debounced_verdict;

      SensorEvent_t evt = {
        .type = EVT_FLAME,
        .slot = 0,
        .state = debounced_verdict,
        .energy = energy
      };
      osMessageQueuePut(sensorEventQueueHandle, &evt, 0, 0);
    }
  }
  /* USER CODE END StartTaskFlameSensor */
}

/* USER CODE BEGIN Header_FlameHeartbeatTimerCallback */
/**
* @brief 30s liveness heartbeat, independent of the edge-triggered reports
* in StartTaskFlameSensor above: resends flame_last_verdict so the Pi can
* tell "quiet sensor" apart from "dead link". No-op until
* flame_verdict_seeded is set (i.e. until the boot baseline is ready) so it
* can't leak a bogus verdict before TaskFlameSensor has ever recorded one.
* Runs in the Timer Service Task context (not ISR), so calling
* osMessageQueuePut directly here is safe.
* @param argument: Not used
* @retval None
*/
/* USER CODE END Header_FlameHeartbeatTimerCallback */
static void FlameHeartbeatTimerCallback(void *argument)
{
  /* USER CODE BEGIN FlameHeartbeatTimerCallback */
  (void)argument;

  if (!flame_verdict_seeded)
  {
    return;
  }

  /* 타이머는 SENSOR_FLAME_TELEMETRY_MS(5초) 주기로 돌지만 매번 보내지는
   * 않는다. 연속 스트리밍은 duty 예산을 감당할 수 없다 -- 1초 간격이면
   * 분당 780ms 로 예산 960ms 의 81% 를 화재 하나가 먹는다.
   *
   *   CLEARED (평상시) : 30초마다 한 번. 순수 liveness 신호.
   *   DETECTED (연소중) : 5초마다. 필요한 순간에만 촘촘해진다.
   *
   * 화재는 드문 사건이라 이 비대칭이 duty 에 주는 부담은 실질적으로 없고,
   * Qt 는 정작 봐야 할 때 5초 간격 곡선을 얻는다. */
  static uint32_t tick = 0;
  const uint32_t TICKS_PER_HEARTBEAT =
      30000u / SENSOR_FLAME_TELEMETRY_MS;   /* 30초 = 6틱 */

  tick++;
  if ((flame_last_verdict == 0) && (tick < TICKS_PER_HEARTBEAT))
  {
    return;
  }
  tick = 0;

  SensorEvent_t evt = {
    .type = EVT_FLAME,
    .slot = 0,
    .state = flame_last_verdict,
    /* 하트비트/텔레메트리도 최신 energy 를 실어 보낸다. 0 으로 보내면
     * Qt 그래프가 주기적으로 바닥을 찍는 것처럼 보인다. */
    .energy = flame_last_energy
  };
  osMessageQueuePut(sensorEventQueueHandle, &evt, 0, 0);
  /* USER CODE END FlameHeartbeatTimerCallback */
}

void StartTaskHallSensor(void *argument)
{
  /* USER CODE BEGIN StartTaskHallSensor */
  const uint32_t SAMPLE_INTERVAL_MS = 50;  /* same cadence as the old poll loop */
  const uint32_t DEBOUNCE_COUNT = 5;       /* 5 * 50ms = 250ms stable required, unchanged */
  const uint32_t CONFIRM_ITERATIONS = 6;   /* 300ms settle window per wake: enough for one full debounce plus margin */

  /* One GPIO per sensor. The CD4051 mux was dropped after 4-channel bring-up:
   * going through it pinned every channel to OCCUPIED even with no magnet
   * present, while reading D0 directly worked. Index here is slot_index 0~3,
   * which the protocol layer maps to sensor 1~4. HALL1/2/3/4 are on
   * PA8/PB10/PB4/PB5 -- picked so no two share an EXTI line number, see
   * gpio.c. */
  /* 보드에 실제로 달린 개수만 쓴다(SENSOR_HALL_COUNT). 배열에는 핀 4개를
   * 그대로 두되 앞에서부터 잘라 쓰는 방식이라, 홀을 2개로 줄여도 배선은
   * HALL1/HALL2 자리를 그대로 쓰면 된다. */
  GPIO_TypeDef *const hall_port[] = {
    HALL1_D0_GPIO_Port, HALL2_D0_GPIO_Port, HALL3_D0_GPIO_Port, HALL4_D0_GPIO_Port
  };
  const uint16_t hall_pin[] = {
    HALL1_D0_Pin, HALL2_D0_Pin, HALL3_D0_Pin, HALL4_D0_Pin
  };
  _Static_assert(SENSOR_HALL_COUNT <= 4, "핀 정의는 4개까지만 있다");

  /* This used to be a 50ms poll loop that scanned all 4 channels forever
   * and reported all 4 on a fixed 1s tick regardless of change. Now the 4
   * D0 pins are EXTI (both edges, see gpio.c) and HAL_GPIO_EXTI_Callback
   * (main.c) just releases hallEdgeSemHandle -- same "ISR signals, task
   * does the work" shape as TaskFlameSensor's adcBufReadySemHandle.
   * Reporting is also edge-triggered now, same as TaskFlameSensor: only a
   * confirmed change goes out over UART, not a repeating status line. The
   * debounce logic itself (N consecutive matching reads) is unchanged --
   * only the outer drive (always-on tick vs. wake-on-edge) and the report
   * condition (fixed cadence vs. on-change) changed. */

  /* One full scan before ever blocking, seeding both the debounced and the
   * last-reported state without emitting -- same idea as TaskFlameSensor's
   * verdict_seeded boot window, just instantaneous here since there's no
   * ambient signal to average. Without this, a sensor already occupied at
   * boot would never be reported until its next physical transition. */
  for (uint8_t ch = 0; ch < SENSOR_HALL_COUNT; ch++)
  {
    uint8_t raw = (HAL_GPIO_ReadPin(hall_port[ch], hall_pin[ch]) == GPIO_PIN_RESET) ? 1 : 0;
    hall_candidate_state[ch] = raw;
    hall_stable_count[ch] = DEBOUNCE_COUNT;
    hall_debounced_state[ch] = raw;
    hall_last_reported_state[ch] = raw;
  }

  for (;;)
  {
    /* Blocks here until HAL_GPIO_EXTI_Callback signals an edge on any of
     * the 4 hall pins.
     *
     * 다만 쿨다운에 걸려 대기 중인(pending) 채널이 있으면 무한정 기다리면
     * 안 된다. 채터링이 멎어 더 이상 엣지가 안 오면 그 상태 변화가 다음
     * 하트비트(30초)까지 묻히기 때문이다. 남은 쿨다운만큼만 기다렸다가
     * 깨어나 밀어낸다. */
    uint32_t wait = osWaitForever;
    for (uint8_t ch = 0; ch < SENSOR_HALL_COUNT; ch++)
    {
      if (!hall_pending[ch]) continue;
      uint32_t elapsed = osKernelGetTickCount() - hall_last_sent_tick[ch];
      uint32_t remain = (elapsed >= SENSOR_HALL_COOLDOWN_MS)
                        ? 1u : (SENSOR_HALL_COOLDOWN_MS - elapsed);
      if ((wait == osWaitForever) || (remain < wait)) wait = remain;
    }
    osSemaphoreAcquire(hallEdgeSemHandle, wait);

    /* 엣지로 깨웠든 쿨다운 만료로 깨웠든, 밀린 것부터 처리한다. */
    for (uint8_t ch = 0; ch < SENSOR_HALL_COUNT; ch++)
    {
      if (hall_pending[ch]) HallEmitIfAllowed(ch);
    }

    for (uint32_t i = 0; i < CONFIRM_ITERATIONS; i++)
    {
      for (uint8_t ch = 0; ch < SENSOR_HALL_COUNT; ch++)
      {
        /* D0 is open-collector: idle (no magnet) floats HIGH via the pull-up,
         * and a magnet trips the comparator which sinks the line LOW. So LOW
         * is OCCUPIED, not HIGH. */
        uint8_t raw = (HAL_GPIO_ReadPin(hall_port[ch], hall_pin[ch]) == GPIO_PIN_RESET) ? 1 : 0;

        /* Debounce: only trust a new value once it's been read the same way
         * DEBOUNCE_COUNT times in a row; any different reading resets the count. */
        if (raw == hall_candidate_state[ch])
        {
          if (hall_stable_count[ch] < DEBOUNCE_COUNT)
          {
            hall_stable_count[ch]++;
          }
        }
        else
        {
          hall_candidate_state[ch] = raw;
          hall_stable_count[ch] = 1;
        }

        if (hall_stable_count[ch] >= DEBOUNCE_COUNT)
        {
          hall_debounced_state[ch] = hall_candidate_state[ch];

          /* Emit only on a confirmed change from what was last put on the
           * wire -- repeated confirmations of the same value (e.g. more
           * iterations in this window, or a later wake with no real
           * change) must not re-send.
           * 쿨다운 판단은 HallEmitIfAllowed() 안에 있다. */
          HallEmitIfAllowed(ch);
        }
      }

      osDelay(SAMPLE_INTERVAL_MS);
    }
  }
  /* USER CODE END StartTaskHallSensor */
}

/* USER CODE BEGIN Header_HallHeartbeatTimerCallback */
/**
* @brief 30s liveness heartbeat, independent of the edge-triggered reports
* in StartTaskHallSensor above: resends whatever hall_debounced_state
* currently holds so the Pi can tell "quiet sensor" apart from "dead
* link". Runs in the Timer Service Task context (not ISR), so calling
* osMessageQueuePut directly here is safe -- same as every other non-ISR
* call site in this file.
* @param argument: Not used
* @retval None
*/
/* USER CODE END Header_HallHeartbeatTimerCallback */
/* 채널 하나의 확정 상태를 내보낼 수 있으면 내보내고, 쿨다운 중이면
 * pending 으로만 남긴다. 상태 자체는 hall_debounced_state 에 이미 최신값이
 * 들어 있으므로, 나중에 보낼 때 자동으로 최신 상태가 나간다(합치기). */
static void HallEmitIfAllowed(uint8_t ch)
{
  if (hall_debounced_state[ch] == hall_last_reported_state[ch])
  {
    hall_pending[ch] = 0;      /* 떨다가 원래 값으로 돌아왔다 -- 보낼 것 없음 */
    return;
  }

  uint32_t now = osKernelGetTickCount();
  if (hall_sent_once[ch] &&
      ((now - hall_last_sent_tick[ch]) < SENSOR_HALL_COOLDOWN_MS))
  {
    hall_pending[ch] = 1;      /* 쿨다운 중. 끝나면 최신 상태로 나간다 */
    return;
  }

  hall_last_reported_state[ch] = hall_debounced_state[ch];
  hall_last_sent_tick[ch] = now;
  hall_sent_once[ch] = 1;
  hall_pending[ch] = 0;

  SensorEvent_t evt = {
    .type = EVT_HALL,
    .slot = ch,
    .state = hall_debounced_state[ch],
    .energy = 0.0f
  };
  osMessageQueuePut(sensorEventQueueHandle, &evt, 0, 0);
}

static void HallHeartbeatTimerCallback(void *argument)
{
  /* USER CODE BEGIN HallHeartbeatTimerCallback */
  (void)argument;

  uint32_t now = osKernelGetTickCount();

  for (uint8_t ch = 0; ch < SENSOR_HALL_COUNT; ch++)
  {
    /* 최근 30초 안에 이미 보낸 채널은 건너뛴다.
     *
     * 하트비트의 목적은 "이 노드가 살아 있다"를 알리는 것뿐인데, 방금
     * 상태를 보낸 채널은 그게 이미 증명돼 있다. 무조건 4개를 보내면
     * 채터링 중인 채널이 쿨다운 전송과 하트비트를 둘 다 내보내면서
     * duty 최악 케이스가 925ms(예산의 96%)까지 올라간다. 건너뛰면
     * 817ms(85%)로 떨어지고, 수신측이 받는 정보는 달라지지 않는다. */
    if (hall_sent_once[ch] && ((now - hall_last_sent_tick[ch]) < 30000u))
    {
      continue;
    }

    /* Heartbeat should not affect cooldown timestamps (HallEmitIfAllowed). */

    SensorEvent_t evt = {
      .type = EVT_HALL,
      .slot = ch,
      .state = hall_debounced_state[ch],
      .energy = 0.0f
    };
    osMessageQueuePut(sensorEventQueueHandle, &evt, 0, 0);
  }
  /* USER CODE END HallHeartbeatTimerCallback */
}

void StartTaskPacketTX(void *argument)
{
  /* USER CODE BEGIN StartTaskPacketTX */
  /* Sole consumer of sensorEventQueue: turns whatever TaskHallSensor/
   * TaskFlameSensor produced into a UART line and sends it. */
  SensorEvent_t evt;

#if SENSOR_DEBUG_UI
  SensorDashboard_Init();
#endif

  for (;;)
  {
    if (osMessageQueueGet(sensorEventQueueHandle, &evt, NULL, osWaitForever) == osOK)
    {
      switch (evt.type)
      {
        case EVT_HALL:
#if SENSOR_DEBUG_UI
          SensorDashboard_UpdateHall(evt.slot, evt.state);
#else
          SensorProtocol_SendHallStatus(evt.slot, evt.state);
#endif
          break;
        case EVT_FLAME:
#if SENSOR_DEBUG_UI
          SensorDashboard_UpdateFlame(evt.state, evt.energy);
#else
          SensorProtocol_SendFlameStatus(evt.state, evt.energy);
#endif
          break;
      }
    }
  }
  /* USER CODE END StartTaskPacketTX */
}

/* USER CODE BEGIN Header_StartTaskCommandRX */
/**
* @brief Function implementing the TaskCommandRX thread. Blocks on the
* line-ready semaphore AlertCommand_OnByteReceived (main.c, ISR context)
* releases, then parses and acts on one AlertCommand line per wake. See
* alert_command.c/.h.
* @param argument: Not used
* @retval None
*/
/* USER CODE END Header_StartTaskCommandRX */
void StartTaskCommandRX(void *argument)
{
  /* USER CODE BEGIN StartTaskCommandRX */
  (void)argument;
  AlertCommand_Task();
  /* USER CODE END StartTaskCommandRX */
}

/* USER CODE BEGIN Application */
void vApplicationStackOverflowHook(TaskHandle_t xTask, char *pcTaskName)
{
  (void)xTask;

  /* 예전에는 그냥 Error_Handler() 였는데, 그러면 무한 루프에 빠지면서
   * 아무 흔적도 안 남는다. 로그가 뚝 끊긴 것만 보이고 원인은 안 보여서
   * "LoRa 가 안 된다"로 오진하게 된다 -- 실제로 그렇게 반나절을 썼다.
   *
   * printf 는 쓰지 않는다. 지금은 스택이 이미 망가진 상태라 그 자체가
   * 위험하다. HAL 로 고정 문자열만 직접 밀어낸다. */
  const char *msg = "\r\n!!! STACK OVERFLOW: ";
  HAL_UART_Transmit(&huart2, (uint8_t *)msg, (uint16_t)strlen(msg), 100);
  if (pcTaskName)
  {
    HAL_UART_Transmit(&huart2, (uint8_t *)pcTaskName,
                      (uint16_t)strlen(pcTaskName), 100);
  }
  msg = " -- 해당 태스크의 stack_size 를 키울 것\r\n";
  HAL_UART_Transmit(&huart2, (uint8_t *)msg, (uint16_t)strlen(msg), 100);

  /* LD2 빠른 깜빡임으로도 알린다. 콘솔을 안 보고 있어도 눈에 띈다. */
  for (;;)
  {
    HAL_GPIO_TogglePin(LD2_GPIO_Port, LD2_Pin);
    HAL_Delay(80);
  }
}
/* USER CODE END Application */
